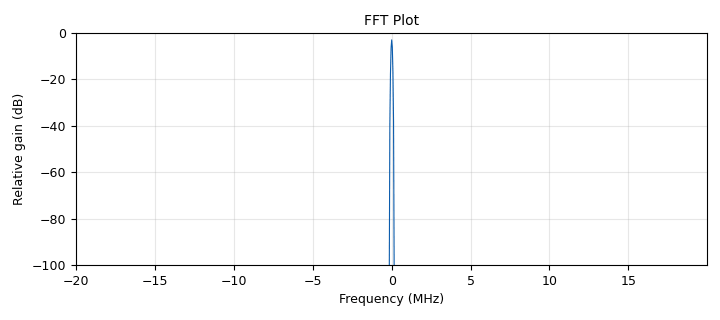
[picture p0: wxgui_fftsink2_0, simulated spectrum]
<?xml version='1.0' encoding='utf-8'?>
<flow_graph>
<block>
<key>options</key>
<param><key>id</key><value>top_block</value></param>
<param><key>generate_options</key><value>wx_gui</value></param>
<param><key>category</key><value>Custom</value></param>
</block>
<block>
<key>wxgui_fftsink2</key>
<param><key>id</key><value>wxgui_fftsink2_0</value></param>
<param><key>type</key><value>complex</value></param>
<param><key>title</key><value>FFT Plot</value></param>
<param><key>samp_rate</key><value>samp_rate</value></param>
<param><key>baseband_freq</key><value>0</value></param>
<param><key>y_per_div</key><value>10</value></param>
<param><key>y_divs</key><value>10</value></param>
<param><key>ref_level</key><value>0</value></param>
<param><key>ref_scale</key><value>2.0</value></param>
<param><key>fft_size</key><value>1024</value></param>
<param><key>fft_rate</key><value>15</value></param>
<param><key>peak_hold</key><value>False</value></param>
<param><key>average</key><value>False</value></param>
<param><key>avg_alpha</key><value>0</value></param>
<param><key>win</key><value>None</value></param>
<param><key>freqvar</key><value>None</value></param>
</block>
<block>
<key>gr_throttle</key>
<param><key>id</key><value>gr_throttle_0</value></param>
<param><key>type</key><value>complex</value></param>
<param><key>samples_per_second</key><value>samp_rate</value></param>
<param><key>vlen</key><value>1</value></param>
</block>
<block>
<key>gr_stream_to_vector</key>
<param><key>id</key><value>gr_stream_to_vector_0</value></param>
<param><key>type</key><value>short</value></param>
<param><key>num_items</key><value>2</value></param>
<param><key>vlen</key><value>1</value></param>
</block>
<block>
<key>analog_sig_source_x</key>
<param><key>id</key><value>analog_sig_source_x_1</value></param>
<param><key>type</key><value>complex</value></param>
<param><key>samp_rate</key><value>samp_rate</value></param>
<param><key>waveform</key><value>analog.GR_COS_WAVE</value></param>
<param><key>freq</key><value>1000</value></param>
<param><key>amp</key><value>1</value></param>
<param><key>offset</key><value>0</value></param>
</block>
<block>
<key>blocks_complex_to_interleaved_short</key>
<param><key>id</key><value>blocks_complex_to_interleaved_short_0</value></param>
</block>
<block>
<key>blocks_multiply_const_vxx</key>
<param><key>id</key><value>blocks_multiply_const_vxx_0</value></param>
<param><key>type</key><value>complex</value></param>
<param><key>const</key><value>16384</value></param>
</block>
<block>
<key>gr_udp_sink</key>
<param><key>id</key><value>gr_udp_sink_0</value></param>
<param><key>type</key><value>short</value></param>
<param><key>ipaddr</key><value>192.168.220.2</value></param>
<param><key>port</key><value>7653</value></param>
<param><key>psize</key><value>736</value></param>
<param><key>eof</key><value>True</value></param>
<param><key>vlen</key><value>2</value></param>
</block>
<block>
<key>variable</key>
<param><key>id</key><value>samp_rate</value></param>
<param><key>value</key><value>40e6</value></param>
</block>
<connection><source_block_id>gr_throttle_0</source_block_id><sink_block_id>wxgui_fftsink2_0</sink_block_id><source_key>0</source_key><sink_key>0</sink_key></connection>
<connection><source_block_id>blocks_complex_to_interleaved_short_0</source_block_id><sink_block_id>gr_stream_to_vector_0</sink_block_id><source_key>0</source_key><sink_key>0</sink_key></connection>
<connection><source_block_id>gr_stream_to_vector_0</source_block_id><sink_block_id>gr_udp_sink_0</sink_block_id><source_key>0</source_key><sink_key>0</sink_key></connection>
<connection><source_block_id>blocks_multiply_const_vxx_0</source_block_id><sink_block_id>blocks_complex_to_interleaved_short_0</sink_block_id><source_key>0</source_key><sink_key>0</sink_key></connection>
<connection><source_block_id>analog_sig_source_x_1</source_block_id><sink_block_id>blocks_multiply_const_vxx_0</sink_block_id><source_key>0</source_key><sink_key>0</sink_key></connection>
<connection><source_block_id>analog_sig_source_x_1</source_block_id><sink_block_id>gr_throttle_0</sink_block_id><source_key>0</source_key><sink_key>0</sink_key></connection>
</flow_graph>
